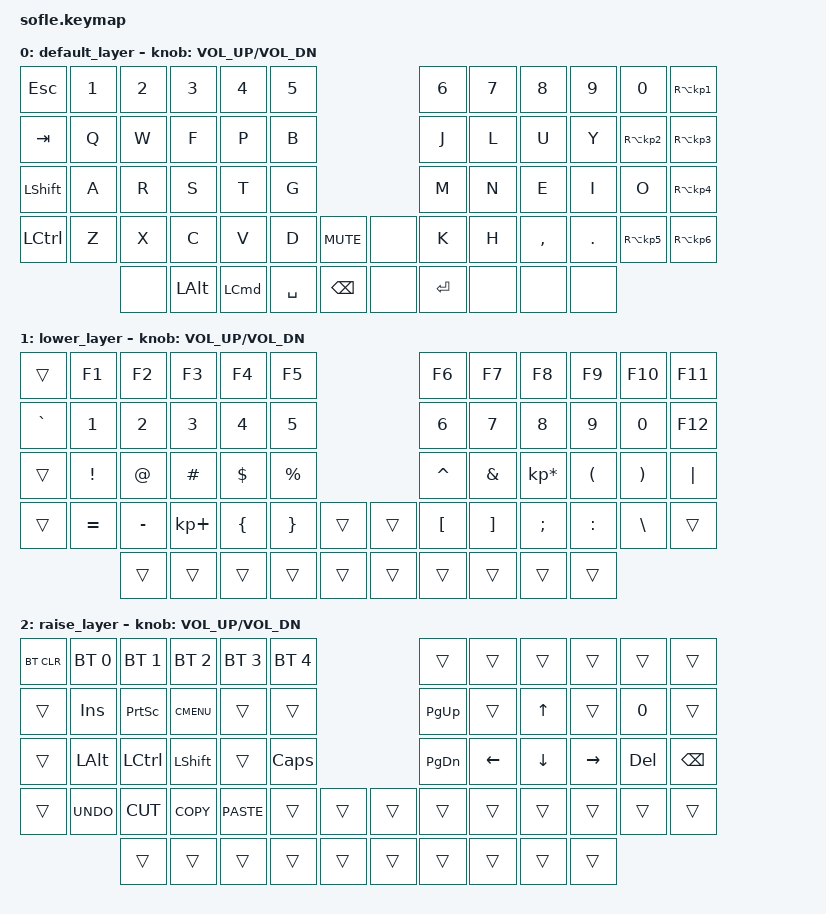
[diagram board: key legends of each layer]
/*
 * Copyright (c) 2020 The ZMK Contributors
 *
 * SPDX-License-Identifier: MIT
 */

#include <behaviors.dtsi>
#include <dt-bindings/zmk/bt.h>
#include <dt-bindings/zmk/keys.h>

/ {
    keymap {
        compatible = "zmk,keymap";

        default_layer {
            // ------------------------------------------------------------------------------------------------------------
            // |  `    |  1  |  2  |  3   |  4   |  5   |                         |  6   |  7    |  8    |  9   |   0   |       |
            // |  ESC  |  Q  |  W  |  E   |  R   |  T   |                         |  Y   |  U    |  I    |  O   |   P   | BKSPC |
            // |  TAB  |  A  |  S  |  D   |  F   |  G   |                         |  H   |  J    |  K    |  L   |   ;   |   '   |
            // | SHIFT |  Z  |  X  |  C   |  V   |  B   |  MUTE  |        | ExtPw |  N   |  M    |  ,    |  .   |   /   | SHIFT |
            //               | GUI | ALT  | CTRL | LOWER|  ENTER |        | SPACE | RAISE| CTRL  | ALT   | GUI  |

            bindings = <
&kp ESC         &kp N1  &kp N2  &kp N3        &kp N4            &kp N5                             &kp N6     &kp N7  &kp N8     &kp N9   &kp N0               &kp RA(KP_NUMBER_1)
&kp TAB         &kp Q   &kp W   &kp F         &kp P             &kp B                              &kp J      &kp L   &kp U      &kp Y    &kp RA(KP_NUMBER_2)  &kp RA(KP_NUMBER_3)
&kp LEFT_SHIFT  &kp A   &kp R   &kp S         &kp T             &kp G                              &kp M      &kp N   &kp E      &kp I    &kp O                &kp RA(KP_NUMBER_4)
&kp LCTRL       &kp Z   &kp X   &kp C         &kp V             &kp D      &kp C_MUTE       &none  &kp K      &kp H   &kp COMMA  &kp DOT  &kp RA(KP_NUMBER_5)  &kp RA(KP_NUMBER_6)
                        &none   &kp LEFT_ALT  &kp LEFT_COMMAND  &kp SPACE  &kp BACKSPACE    &none  &kp ENTER  &none   &none      &none
            >;

            sensor-bindings = <&inc_dec_kp C_VOL_UP C_VOL_DN>;
        };

        lower_layer {
            // TODO: Some binds are waiting for shifted keycode support.
            // ------------------------------------------------------------------------------------------------------------
            // |       |  F1 |  F2 |  F3  |  F4  |  F5  |                   |  F6  |  F7   |  F8   |  F9  |  F10  |  F11  |
            // | `     |   1 |   2 |   3  |   4  |   5  |                   |   6  |   7   |   8   |   9  |    0  |  F12  |
            // |       |  !  |  @  |  #   |  $   |  %   |                   |  ^   |  &    |  *    |  (   |   )   |   |   |
            // |       |  =  |  -  |  +   |  {   |  }   |        |  |       |  [   |  ]    |  ;    |  :   |   \   |       |
            //               |     |      |      |      |        |  |       |      |       |       |      |

            bindings = <
&trans     &kp F1     &kp F2     &kp F3       &kp F4    &kp F5                       &kp F6     &kp F7    &kp F8           &kp F9     &kp F10   &kp F11
&kp GRAVE  &kp N1     &kp N2     &kp N3       &kp N4    &kp N5                       &kp N6     &kp N7    &kp N8           &kp N9     &kp N0    &kp F12
&trans     &kp EXCL   &kp AT     &kp HASH     &kp DLLR  &kp PRCNT                    &kp CARET  &kp AMPS  &kp KP_MULTIPLY  &kp LPAR   &kp RPAR  &kp PIPE
&trans     &kp EQUAL  &kp MINUS  &kp KP_PLUS  &kp LBRC  &kp RBRC   &trans    &trans  &kp LBKT   &kp RBKT  &kp SEMI         &kp COLON  &kp BSLH  &trans
                      &trans     &trans       &trans    &trans     &trans    &trans  &trans     &trans    &trans           &trans
            >;

            sensor-bindings = <&inc_dec_kp C_VOL_UP C_VOL_DN>;
        };

        raise_layer {
            // ------------------------------------------------------------------------------------------------------------
            // |BTCLR| BT1  | BT2  |  BT3  |  BT4  |  BT5 |                |      |      |       |      |       |       |
            // |     | INS  | PSCR | GUI   |       |      |                | PGUP |      |   ^   |      |       |       |
            // |     | ALT  | CTRL | SHIFT |       | CAPS |                | PGDN |   <- |   v   |  ->  |  DEL  | BKSPC |
            // |     | UNDO | CUT  | COPY  | PASTE |      |      |  |      |      |      |       |      |       |       |
            //              |      |       |       |      |      |  |      |      |      |       |      |

            bindings = <
&bt BT_CLR  &bt BT_SEL 0  &bt BT_SEL 1  &bt BT_SEL 2  &bt BT_SEL 3  &bt BT_SEL 4                    &trans     &trans    &trans    &trans     &trans   &trans
&trans      &kp INS       &kp PSCRN     &kp K_CMENU   &trans        &trans                          &kp PG_UP  &trans    &kp UP    &trans     &kp N0   &trans
&trans      &kp LALT      &kp LCTRL     &kp LSHFT     &trans        &kp CLCK                        &kp PG_DN  &kp LEFT  &kp DOWN  &kp RIGHT  &kp DEL  &kp BSPC
&trans      &kp K_UNDO    &kp K_CUT     &kp K_COPY    &kp K_PASTE   &trans        &trans    &trans  &trans     &trans    &trans    &trans     &trans   &trans
                          &trans        &trans        &trans        &trans        &trans    &trans  &trans     &trans    &trans    &trans
            >;

            sensor-bindings = <&inc_dec_kp C_VOL_UP C_VOL_DN>;
        };
    };
};
